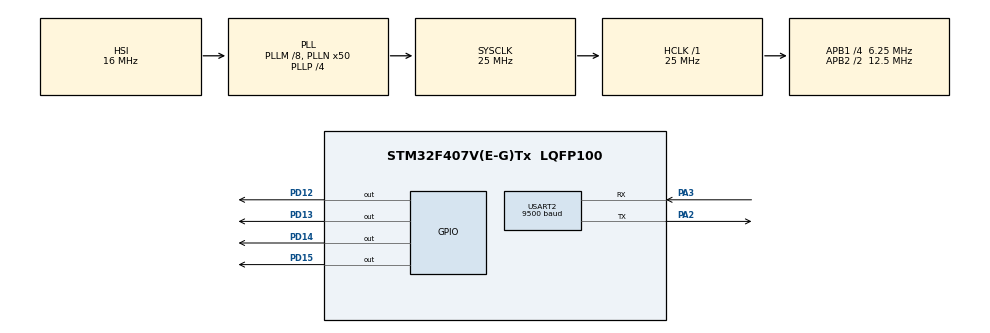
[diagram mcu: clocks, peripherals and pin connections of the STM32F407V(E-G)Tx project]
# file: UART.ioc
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FREERTOS.INCLUDE_vTaskDelayUntil=1
FREERTOS.Tasks01=defaultTask,0,128,StartDefaultTask,Default,NULL,Dynamic,NULL,NULL;myTask02,-3,128,StartTask02,Default,NULL,Dynamic,NULL,NULL
FREERTOS.configUSE_NEWLIB_REENTRANT=1
Mcu.Family=STM32F4
Mcu.Name=STM32F407V(E-G)Tx
Mcu.Package=LQFP100
NVIC.PriorityGroup=NVIC_PRIORITYGROUP_4
NVIC.TIM1_UP_TIM10_IRQn=true\:0\:0\:false\:false\:true\:false\:false\:true\:true
NVIC.TimeBase=TIM1_UP_TIM10_IRQn
NVIC.TimeBaseIP=TIM1
PA2.Mode=Asynchronous
PA2.Signal=USART2_TX
PA3.Mode=Asynchronous
PA3.Signal=USART2_RX
PD12.Signal=GPIO_Output
PD13.Signal=GPIO_Output
PD14.Signal=GPIO_Output
PD15.Signal=GPIO_Output
ProjectManager.HeapSize=0x200
ProjectManager.StackSize=0x400
ProjectManager.TargetToolchain=STM32CubeIDE
RCC.48MHZClocksFreq_Value=14285714.285714285
RCC.AHBFreq_Value=25000000
RCC.APB1CLKDivider=RCC_HCLK_DIV4
RCC.APB1Freq_Value=6250000
RCC.APB1TimFreq_Value=12500000
RCC.APB2CLKDivider=RCC_HCLK_DIV2
RCC.APB2Freq_Value=12500000
RCC.APB2TimFreq_Value=25000000
RCC.CortexFreq_Value=25000000
RCC.HCLKFreq_Value=25000000
RCC.HSE_VALUE=8000000
RCC.HSI_VALUE=16000000
RCC.LSE_VALUE=32768
RCC.PLLM=8
RCC.PLLN=50
RCC.PLLP=RCC_PLLP_DIV4
RCC.PLLQ=7
RCC.SYSCLKFreq_VALUE=25000000
RCC.SYSCLKSource=RCC_SYSCLKSOURCE_PLLCLK
RCC.VCOOutputFreq_Value=100000000
USART2.BaudRate=9500
USART2.VirtualMode=VM_ASYNC
VP_FREERTOS_VS_CMSIS_V1.Mode=CMSIS_V1
VP_SYS_VS_tim1.Mode=TIM1
board=STM32F407G-DISC1

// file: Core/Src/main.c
/* USER CODE BEGIN Header */
/**
  ******************************************************************************
  * @file           : main.c
  * @brief          : Main program body
  ******************************************************************************
  * @attention
  *
  * Copyright (c) 2024 STMicroelectronics.
  * All rights reserved.
  *
  * This software is licensed under terms that can be found in the LICENSE file
  * in the root directory of this software component.
  * If no LICENSE file comes with this software, it is provided AS-IS.
  *
  ******************************************************************************
  */
/* USER CODE END Header */
#include "main.h"
#include "cmsis_os.h"

/* USER CODE BEGIN Includes */
#include<string.h>
/* USER CODE END Includes */

UART_HandleTypeDef huart2;

osThreadId defaultTaskHandle;
osThreadId myTask02Handle;

void SystemClock_Config(void);
static void MX_GPIO_Init(void);
static void MX_USART2_UART_Init(void);
void StartDefaultTask(void const * argument);
void StartTask02(void const * argument);

/* USER CODE BEGIN 0 */

void vLEDBlinkingTask(void *pvParam)
{
	portTickType xLastWakeupTime = xTaskGetTickCount();
	while(1)
	{
		HAL_GPIO_TogglePin(GPIOD, GPIO_PIN_14);
		vTaskDelayUntil(&xLastWakeupTime, 2000 / portTICK_RATE_MS);
	}
	vTaskDelete(NULL);
}

void vUARTSendingTask(void *pvParam)
{
	char *pcMessage = (char *)pvParam;
	while(1)
	{
		portENTER_CRITICAL();
		HAL_UART_Transmit(&huart2, (uint8_t *)pcMessage, strlen(pcMessage), HAL_MAX_DELAY);
		portEXIT_CRITICAL();
		vTaskDelay(5000 / portTICK_RATE_MS);
	}
	vTaskDelete(NULL);
}

/* USER CODE END 0 */

int main(void)
{

  /* USER CODE BEGIN 1 */
	BaseType_t xRet;
	char * pcMessage = "This is UART Demo\r\n";
  /* USER CODE END 1 */

  /* MCU Configuration--------------------------------------------------------*/

  /* Reset of all peripherals, Initializes the Flash interface and the Systick. */
  HAL_Init();

  /* Configure the system clock */
  SystemClock_Config();

  /* Initialize all configured peripherals */
  MX_GPIO_Init();
  MX_USART2_UART_Init();
  /* USER CODE BEGIN 2 */
HAL_UART_Transmit(&huart2, (uint8_t *)pcMessage, strlen(pcMessage),HAL_MAX_DELAY);

  /* USER CODE END 2 */

  /* Create the thread(s) */
  /* definition and creation of defaultTask */
  osThreadDef(defaultTask, StartDefaultTask, osPriorityNormal, 0, 128);
  defaultTaskHandle = osThreadCreate(osThread(defaultTask), NULL);

  /* definition and creation of myTask02 */
  osThreadDef(myTask02, StartTask02, osPriorityIdle, 0, 128);
  myTask02Handle = osThreadCreate(osThread(myTask02), NULL);

  /* USER CODE BEGIN RTOS_THREADS */
  /* add threads, ... */
  xRet = xTaskCreate(vLEDBlinkingTask, "LED Task", configMINIMAL_STACK_SIZE, NULL, 4, NULL);
  if(xRet != pdTRUE)
	  Error_Handler();

  xRet = xTaskCreate(vUARTSendingTask, "UART1 Task", configMINIMAL_STACK_SIZE, "UART Task1\r\n", 3, NULL);
    if(xRet != pdTRUE)
  	  Error_Handler();

    xRet = xTaskCreate(vUARTSendingTask, "UART2 Task", configMINIMAL_STACK_SIZE, "UART Task2\r\n", 3, NULL);
       if(xRet != pdTRUE)
     	  Error_Handler();
  /* USER CODE END RTOS_THREADS */

  /* Start scheduler */
  osKernelStart();

  /* We should never get here as control is now taken by the scheduler */

  /* Infinite loop */
  while (1)
  {

  }
}

void SystemClock_Config(void)
{
  RCC_OscInitTypeDef RCC_OscInitStruct = {0};
  RCC_ClkInitTypeDef RCC_ClkInitStruct = {0};

  /** Configure the main internal regulator output voltage
  */
  __HAL_RCC_PWR_CLK_ENABLE();
  __HAL_PWR_VOLTAGESCALING_CONFIG(PWR_REGULATOR_VOLTAGE_SCALE1);

  /** Initializes the RCC Oscillators according to the specified parameters
  * in the RCC_OscInitTypeDef structure.
  */
  RCC_OscInitStruct.OscillatorType = RCC_OSCILLATORTYPE_HSI;
  RCC_OscInitStruct.HSIState = RCC_HSI_ON;
  RCC_OscInitStruct.HSICalibrationValue = RCC_HSICALIBRATION_DEFAULT;
  RCC_OscInitStruct.PLL.PLLState = RCC_PLL_ON;
  RCC_OscInitStruct.PLL.PLLSource = RCC_PLLSOURCE_HSI;
  RCC_OscInitStruct.PLL.PLLM = 8;
  RCC_OscInitStruct.PLL.PLLN = 50;
  RCC_OscInitStruct.PLL.PLLP = RCC_PLLP_DIV4;
  RCC_OscInitStruct.PLL.PLLQ = 7;
  if (HAL_RCC_OscConfig(&RCC_OscInitStruct) != HAL_OK)
  {
    Error_Handler();
  }

  /** Initializes the CPU, AHB and APB buses clocks
  */
  RCC_ClkInitStruct.ClockType = RCC_CLOCKTYPE_HCLK|RCC_CLOCKTYPE_SYSCLK
                              |RCC_CLOCKTYPE_PCLK1|RCC_CLOCKTYPE_PCLK2;
  RCC_ClkInitStruct.SYSCLKSource = RCC_SYSCLKSOURCE_PLLCLK;
  RCC_ClkInitStruct.AHBCLKDivider = RCC_SYSCLK_DIV1;
  RCC_ClkInitStruct.APB1CLKDivider = RCC_HCLK_DIV4;
  RCC_ClkInitStruct.APB2CLKDivider = RCC_HCLK_DIV2;

  if (HAL_RCC_ClockConfig(&RCC_ClkInitStruct, FLASH_LATENCY_0) != HAL_OK)
  {
    Error_Handler();
  }
}

static void MX_USART2_UART_Init(void)
{

  huart2.Instance = USART2;
  huart2.Init.BaudRate = 9500;
  huart2.Init.WordLength = UART_WORDLENGTH_8B;
  huart2.Init.StopBits = UART_STOPBITS_1;
  huart2.Init.Parity = UART_PARITY_NONE;
  huart2.Init.Mode = UART_MODE_TX_RX;
  huart2.Init.HwFlowCtl = UART_HWCONTROL_NONE;
  huart2.Init.OverSampling = UART_OVERSAMPLING_16;
  if (HAL_UART_Init(&huart2) != HAL_OK)
  {
    Error_Handler();
  }

}

static void MX_GPIO_Init(void)
{
  GPIO_InitTypeDef GPIO_InitStruct = {0};

  /* GPIO Ports Clock Enable */
  __HAL_RCC_GPIOA_CLK_ENABLE();
  __HAL_RCC_GPIOD_CLK_ENABLE();

  /*Configure GPIO pin Output Level */
  HAL_GPIO_WritePin(GPIOD, GPIO_PIN_12|GPIO_PIN_13|GPIO_PIN_14|GPIO_PIN_15, GPIO_PIN_RESET);

  /*Configure GPIO pins : PD12 PD13 PD14 PD15 */
  GPIO_InitStruct.Pin = GPIO_PIN_12|GPIO_PIN_13|GPIO_PIN_14|GPIO_PIN_15;
  GPIO_InitStruct.Mode = GPIO_MODE_OUTPUT_PP;
  GPIO_InitStruct.Pull = GPIO_NOPULL;
  GPIO_InitStruct.Speed = GPIO_SPEED_FREQ_LOW;
  HAL_GPIO_Init(GPIOD, &GPIO_InitStruct);

}

void StartDefaultTask(void const * argument)
{
  for(;;)
  {
    osDelay(1);
  }
}

void StartTask02(void const * argument)
{
  for(;;)
  {
    osDelay(1);
  }
}

void HAL_TIM_PeriodElapsedCallback(TIM_HandleTypeDef *htim)
{
  if (htim->Instance == TIM1) {
    HAL_IncTick();
  }
}

void Error_Handler(void)
{
  __disable_irq();
  while (1)
  {
  }
}
